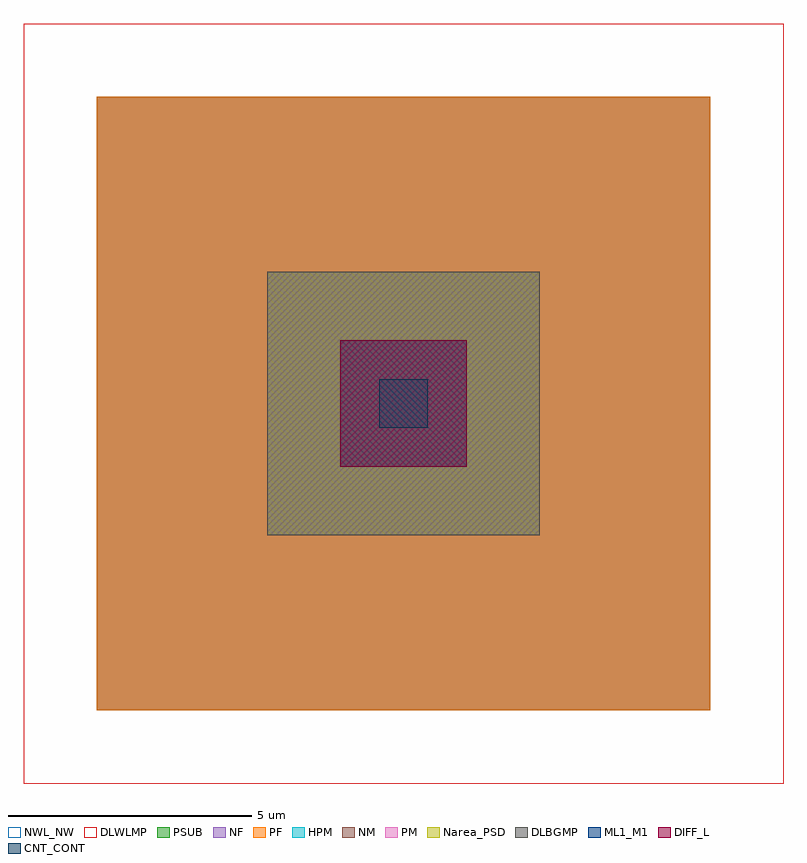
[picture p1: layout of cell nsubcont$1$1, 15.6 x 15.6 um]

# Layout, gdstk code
import gdstk
lib = gdstk.Library(unit=1e-6, precision=1e-07)
def R(c, l, rs):  # rectangles x0, y0, x1, y1
    for r in rs: c.add(gdstk.rectangle(r[:2], r[2:], *l))
DIFF_L = (3, 0)
NM = (7, 0)
Narea_PSD = (9, 0)
CNT_CONT = (11, 0)
ML1_M1 = (13, 0)
NF = (25, 0)
PF = (26, 0)
HPM = (33, 0)
PM = (35, 0)
NWL_NW = (36, 0)
PSUB = (140, 0)
DLWLMP = (150, 0)
DLBGMP = (177, 0)

dcont_1_1 = lib.new_cell('DCONT$1$1')
R(dcont_1_1, DIFF_L, [(-1.3,-1.3,1.3,1.3)])
R(dcont_1_1, CNT_CONT, [(-0.5,-0.5,0.5,0.5)])
R(dcont_1_1, ML1_M1, [(-1.3,-1.3,1.3,1.3), (-0.5,-0.5,0.5,0.5)])

nsubcont_1_1 = lib.new_cell('nsubcont$1$1')
R(nsubcont_1_1, NM, [(-2.8,-2.7,2.8,2.7)])
R(nsubcont_1_1, Narea_PSD, [(-2.8,-2.7,2.8,2.7)])
R(nsubcont_1_1, NF, [(-6.3,-6.3,6.3,6.3)])
R(nsubcont_1_1, PF, [(-6.3,-6.3,6.3,6.3)])
R(nsubcont_1_1, HPM, [(-2.8,-2.7,2.8,2.7)])
R(nsubcont_1_1, PM, [(-2.8,-2.7,2.8,2.7)])
R(nsubcont_1_1, NWL_NW, [(-7.8,-7.8,7.8,7.8)])
R(nsubcont_1_1, PSUB, [(-6.3,-6.3,6.3,6.3)])
R(nsubcont_1_1, DLWLMP, [(-7.8,-7.8,7.8,7.8)])
R(nsubcont_1_1, DLBGMP, [(-2.8,-2.7,2.8,2.7)])
nsubcont_1_1.add(gdstk.Reference(dcont_1_1, (0,0)))

lib.write_gds('nsubcont_1_1.gds')
